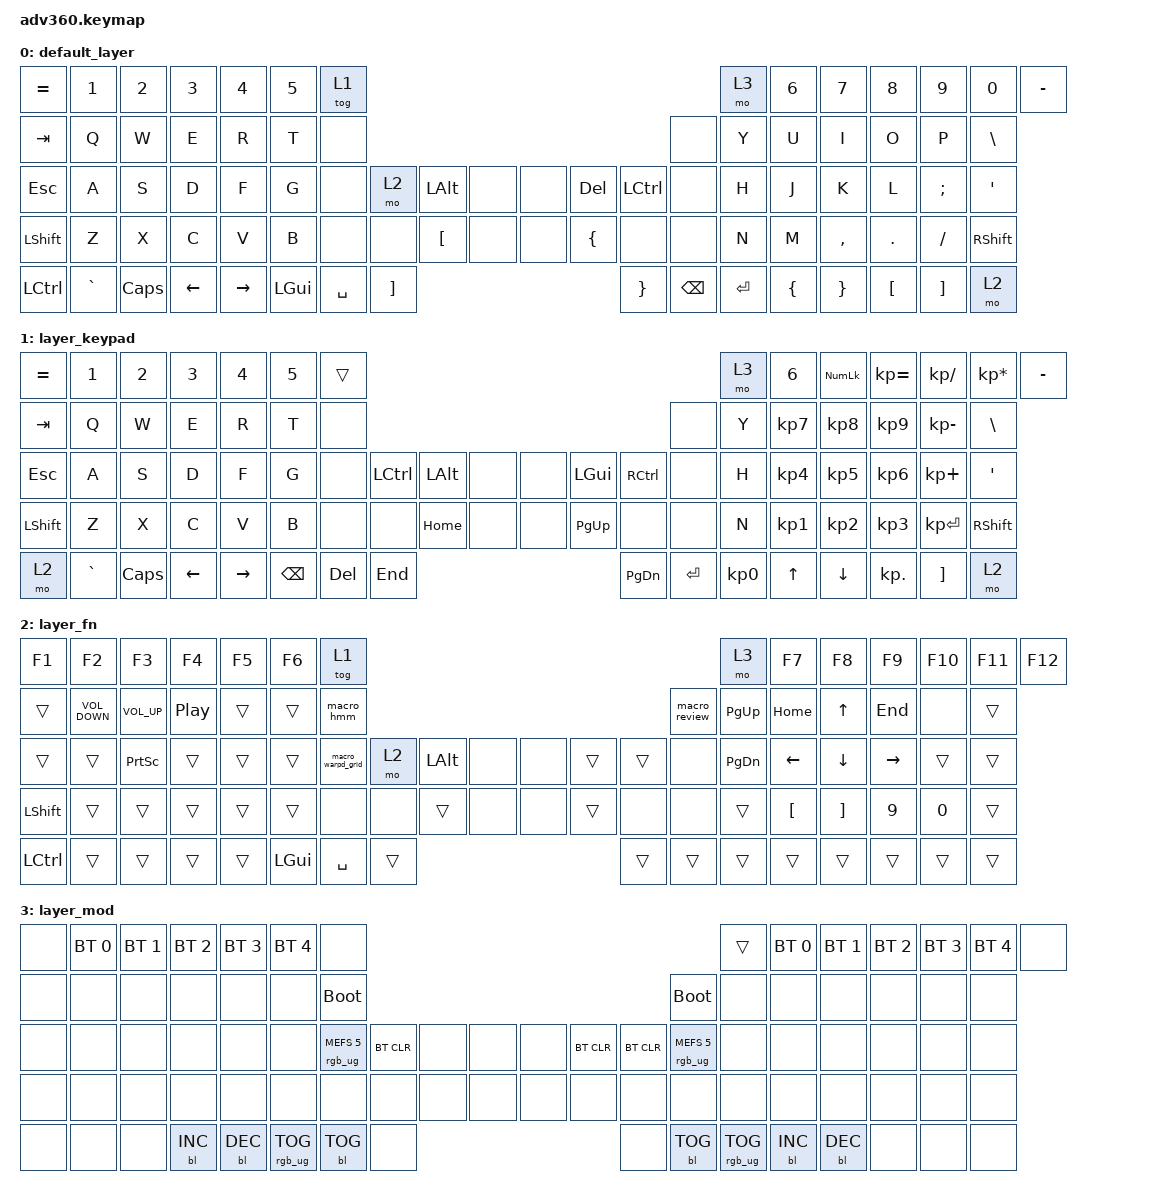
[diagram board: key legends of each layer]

/*
 * Copyright (c) 2020 The ZMK Contributors
 *
 * SPDX-License-Identifier: MIT
 */


/* THIS FILE WAS GENERATED!
 *
 * This file was generated automatically. You may or may not want to
 * edit it directly.
 */

#include <behaviors.dtsi>
#include <dt-bindings/zmk/keys.h>
#include <dt-bindings/zmk/bt.h>
#include <dt-bindings/zmk/rgb.h>
#include <dt-bindings/zmk/backlight.h>

/ {
  behaviors {
    #include "macros.dtsi"
    #include "version.dtsi"

    hm: homerow_mods {
        compatible = "zmk,behavior-hold-tap";
        label = "HOMEROW_MODS";
        #binding-cells = <2>;
        tapping-term-ms = <200>;
        quick_tap_ms = <175>;
        flavor = "tap-preferred";
        bindings = <&kp>, <&kp>;
    };
  };

    keymap {
        compatible = "zmk,keymap";


        default_layer {
            bindings = <
 &kp EQUAL     &kp N1    &kp N2    &kp N3     &kp N4  &kp N5              &tog 1                                                                           &mo 3  &kp N6          &kp N7           &kp N8    &kp N9    &kp N0  &kp MINUS
   &kp TAB      &kp Q     &kp W     &kp E      &kp R   &kp T               &none                                                                           &none   &kp Y           &kp U            &kp I     &kp O     &kp P   &kp BSLH
   &kp ESC      &kp A     &kp S     &kp D      &kp F   &kp G               &none      &mo 2  &kp LALT   &none   &none          &kp DEL      &kp LCTRL      &none   &kp H           &kp J            &kp K     &kp L  &kp SEMI    &kp SQT
 &kp LSHFT      &kp Z     &kp X     &kp C      &kp V   &kp B               &none      &none  &kp LBKT   &none   &none   &kp LEFT_BRACE          &none      &none   &kp N           &kp M        &kp COMMA   &kp DOT  &kp FSLH  &kp RSHFT
 &kp LCTRL  &kp GRAVE  &kp CAPS  &kp LEFT  &kp RIGHT                    &kp LGUI  &kp SPACE  &kp RBKT                  &kp RIGHT_BRACE  &kp BACKSPACE  &kp ENTER          &kp LEFT_BRACE  &kp RIGHT_BRACE  &kp LBKT  &kp RBKT      &mo 2
            >;
        };

        layer_keypad {
            bindings = <
 &kp EQUAL     &kp N1    &kp N2    &kp N3     &kp N4  &kp N5              &trans                                                                 &mo 3  &kp N6  &kp KP_NUM  &kp KP_EQUAL  &kp KP_DIVIDE  &kp KP_MULTIPLY  &kp MINUS
   &kp TAB      &kp Q     &kp W     &kp E      &kp R   &kp T               &none                                                                 &none   &kp Y   &kp KP_N7     &kp KP_N8      &kp KP_N9     &kp KP_MINUS   &kp BSLH
   &kp ESC      &kp A     &kp S     &kp D      &kp F   &kp G               &none  &kp LCTRL  &kp LALT   &none   &none   &kp LGUI  &kp RCTRL      &none   &kp H   &kp KP_N4     &kp KP_N5      &kp KP_N6      &kp KP_PLUS    &kp SQT
 &kp LSHFT      &kp Z     &kp X     &kp C      &kp V   &kp B               &none      &none  &kp HOME   &none   &none  &kp PG_UP      &none      &none   &kp N   &kp KP_N1     &kp KP_N2      &kp KP_N3     &kp KP_ENTER  &kp RSHFT
     &mo 2  &kp GRAVE  &kp CAPS  &kp LEFT  &kp RIGHT                    &kp BSPC    &kp DEL   &kp END                  &kp PG_DN  &kp ENTER  &kp KP_N0              &kp UP      &kp DOWN     &kp KP_DOT         &kp RBKT      &mo 2
            >;
        };

        layer_fn {
            bindings = <
    &kp F1             &kp F2           &kp F3            &kp F4  &kp F5  &kp F6                       &tog 1                                                               &mo 3         &kp F7    &kp F8    &kp F9       &kp F10       &kp F11  &kp F12
    &trans  &kp C_VOLUME_DOWN     &kp C_VOL_UP  &kp C_PLAY_PAUSE  &trans  &trans                   &macro_hmm                                                       &macro_review    &kp PAGE_UP  &kp HOME    &kp UP       &kp END         &none   &trans
    &trans             &trans  &kp PRINTSCREEN            &trans  &trans  &trans            &macro_warpd_grid      &mo 2  &kp LALT   &none   &none  &trans  &trans          &none  &kp PAGE_DOWN  &kp LEFT  &kp DOWN     &kp RIGHT        &trans   &trans
 &kp LSHFT             &trans           &trans            &trans  &trans  &trans                        &none      &none    &trans   &none   &none  &trans   &none          &none         &trans  &kp LBKT  &kp RBKT  &kp NUMBER_9  &kp NUMBER_0   &trans
 &kp LCTRL             &trans           &trans            &trans  &trans                             &kp LGUI  &kp SPACE    &trans                  &trans  &trans         &trans                   &trans    &trans        &trans        &trans   &trans
            >;
        };

        layer_mod {
            bindings = <
  &none  &bt BT_SEL 0  &bt BT_SEL 1  &bt BT_SEL 2  &bt BT_SEL 3  &bt BT_SEL 4                             &none                                                                              &trans  &bt BT_SEL 0  &bt BT_SEL 1  &bt BT_SEL 2  &bt BT_SEL 3  &bt BT_SEL 4   &none
  &none         &none         &none         &none         &none         &none                       &bootloader                                                                         &bootloader         &none         &none         &none         &none         &none   &none
  &none         &none         &none         &none         &none         &none            &rgb_ug RGB_MEFS_CMD 5  &bt BT_CLR   &none   &none   &none  &bt BT_CLR  &bt BT_CLR  &rgb_ug RGB_MEFS_CMD 5         &none         &none         &none         &none         &none   &none
  &none         &none         &none         &none         &none         &none                             &none       &none   &none   &none   &none       &none       &none                   &none         &none         &none         &none         &none         &none   &none
  &none         &none         &none    &bl BL_INC    &bl BL_DEC                                 &rgb_ug RGB_TOG  &bl BL_TOG   &none                       &none  &bl BL_TOG         &rgb_ug RGB_TOG                  &bl BL_INC    &bl BL_DEC         &none         &none   &none
            >;
        };

    };
};
